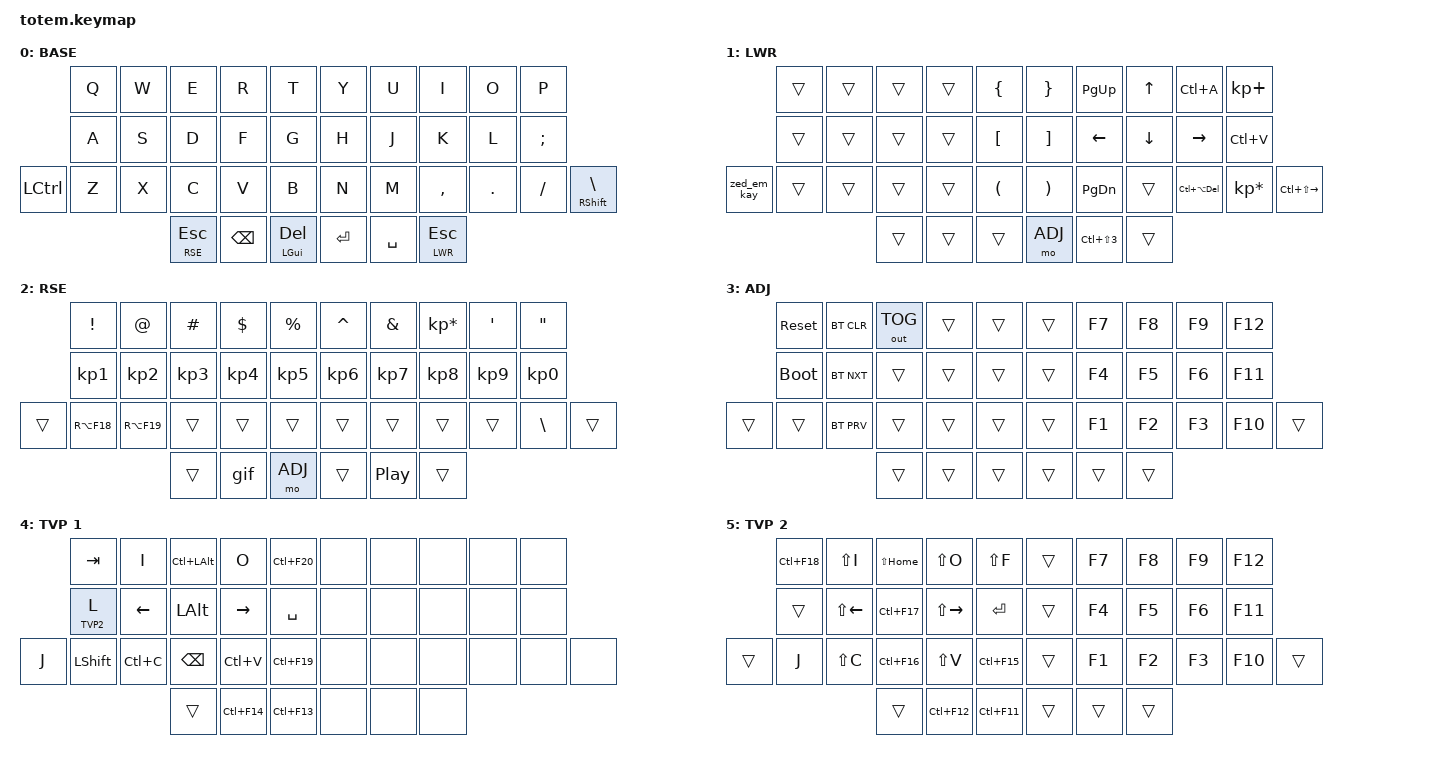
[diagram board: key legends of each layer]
// totem keymaps for zmk       

#include <behaviors.dtsi>
#include <dt-bindings/zmk/keys.h>
#include <dt-bindings/zmk/bt.h>
#include <dt-bindings/zmk/outputs.h>

#define BASE 0
#define LWR  1
#define RSE  2
#define ADJ  3
#define TVP1 4
#define TVP2 5

&mt {
  quick-tap-ms = <100>;
  global-quick-tap;
  flavor = "tap-preferred";
  tapping-term-ms = <170>;
};

/ {
    macros {
        zed_em_kay: zed_em_kay {
            label = "ZM_zed_em_kay";
            compatible = "zmk,behavior-macro";
            #binding-cells = <0>;
            bindings
                = <&macro_press &kp LSHFT>
                , <&macro_tap &kp Z &kp M &kp K &kp A>
                , <&macro_release &kp LSHFT>
                ;
        };
    };
};

/ {
     combos {
            compatible = "zmk,combos";
            combo_esc {
                timeout-ms = <40>; // 50 default
                key-positions = <0 1>;
                bindings = <&kp ESC>;
            };
            combo_tvp {
                timeout-ms = <100>;
                key-positions = <11 12 13>;
                bindings = <&tog TVP1>;
            };
    };

    macros {
        gif: gif {
            label = "giphy";
            compatible = "zmk,behavior-macro";
            #binding-cells = <0>;
            bindings
                = <&macro_press &kp LSHFT>
                , <&macro_tap &kp N2>
                , <&macro_release &kp LSHFT>
                , <&macro_tap &kp G &kp I &kp F>
                ;
        };
    };

        keymap {
                compatible = "zmk,keymap";
// ▄▄▄▄▄▄▄▄▄▄▄▄▄▄▄▄▄▄▄▄▄▄▄▄▄▄▄▄▄▄▄▄▄▄▄▄▄▄▄▄▄▄▄▄▄▄▄▄▄▄▄▄▄▄▄▄▄▄▄▄▄▄▄▄▄▄▄▄▄▄▄▄▄▄▄▄▄▄▄▄▄▄▄▄▄▄▄▄▄▄▄▄▄▄▄▄▄▄▄▄▄▄▄▄▄▄▄▄▄▄▄▄▄▄▄▄▄▄▄▄▄▄▄▄▄▄▄▄▄▄▄▄▄▄▄▄▄▄▄▄▄▄▄▄▄▄▄▄▄

                base_layer {
// ┏━━━━━━━━━━━━━━━━━━━━━━━━━━━━━━━━━━━━━━━┓
label= "BASE"                              ;
// ┗━━━━━━━━━━━━━━━━━━━━━━━━━━━━━━━━━━━━━━━┛
 bindings = <
// ╷           ╷           ╷           ╷           ╷           ╷           ╷   ╷           ╷           ╷           ╷           ╷           ╷           ╷

                &kp Q       &kp W       &kp E      &kp R       &kp T           &kp Y       &kp U       &kp I       &kp O       &kp P
                &kp A       &kp S       &kp D      &kp F       &kp G           &kp H       &kp J       &kp K       &kp L       &kp SEMI
    &kp LCTRL   &kp Z       &kp X       &kp C      &kp V       &kp B           &kp N       &kp M       &kp COMMA   &kp DOT     &kp FSLH    &mt RSHIFT BSLH
                                        &lt RSE ESC   &kp BSPC &mt LGUI DEL    &kp RET   &kp SPACE   &lt LWR ESC
                        >;
                };

                lwr_layer {
// ┏━━━━━━━━━━━━━━━━━━━━━━━━━━━━━━━━━━━━━━━┓
label= "LWR"                              ;
// ┗━━━━━━━━━━━━━━━━━━━━━━━━━━━━━━━━━━━━━━━┛
 bindings = <
// ╷           ╷           ╷           ╷           ╷           ╷           ╷   ╷           ╷           ╷           ╷           ╷           ╷           ╷
                &trans      &trans      &trans      &trans      &kp LBRC        &kp RBRC    &kp PG_UP   &kp UP      &kp LC(A)   &kp KP_PLUS
                &trans      &trans      &trans      &trans      &kp LBKT        &kp RBKT    &kp LEFT    &kp DOWN    &kp RIGHT   &kp LC(V)
  &zed_em_kay   &trans      &trans      &trans      &trans      &kp LPAR        &kp RPAR    &kp PG_DN   &trans      &kp LC(LA(DEL)) &kp KP_MULTIPLY &kp LC(LS(RIGHT))     
                                        &trans      &trans      &trans          &mo ADJ     &kp LC(LS(3)) &trans      
                        >;
                };
        
                rse_layer {
// ┏━━━━━━━━━━━━━━━━━━━━━━━━━━━━━━━━━━━━━━━┓
label= "RSE"                               ;
// ┗━━━━━━━━━━━━━━━━━━━━━━━━━━━━━━━━━━━━━━━┛
 bindings = <
// ╷           ╷           ╷           ╷           ╷           ╷           ╷   ╷           ╷           ╷           ╷           ╷           ╷           ╷
                &kp EXCL    &kp AT      &kp HASH    &kp DLLR    &kp PRCNT       &kp CARET   &kp AMPS    &kp KP_MULTIPLY &kp SQT &kp DQT       
                &kp KP_N1   &kp KP_N2   &kp KP_N3   &kp KP_N4   &kp KP_N5       &kp KP_N6   &kp KP_N7   &kp KP_N8   &kp KP_N9   &kp KP_N0 
    &trans      &kp RA(F18) &kp RA(F19) &trans      &trans      &trans          &trans      &trans      &trans      &trans      &kp BSLH   &trans         
                                        &trans      &gif        &mo ADJ         &trans      &kp C_PP    &trans
                        >;
                };

                adjust_layer {
// ┏━━━━━━━━━━━━━━━━━━━━━━━━━━━━━━━━━━━━━━━┓
label= "ADJ"                               ;
// ┗━━━━━━━━━━━━━━━━━━━━━━━━━━━━━━━━━━━━━━━┛
//             ┏━━━━━━━━━━━┳━━━━━━━━━━━┳━━━━━━━━━━━┳━━━━━━━━━━━┳━━━━━━━━━━━┓   ┏━━━━━━━━━━━┳━━━━━━━━━━━┳━━━━━━━━━━━┳━━━━━━━━━━━┳━━━━━━━━━━━┓
//             ┃   RESET   ┃ BT CLEAR  ┃  OUT TOG  ┃           ┃           ┃   ┃           ┃    F7     ┃    F8     ┃    F9     ┃    F12    ┃
//             ┣━━━━━━━━━━━╋━━━━━━━━━━━╋━━━━━━━━━━━╋━━━━━━━━━━━╋━━━━━━━━━━━┫   ┣━━━━━━━━━━━╋━━━━━━━━━━━╋━━━━━━━━━━━╋━━━━━━━━━━━╋━━━━━━━━━━━┫
//             ┃ BOOTLOAD  ┃ BT NEXT   ┃           ┃           ┃           ┃   ┃           ┃    F4     ┃    F5     ┃    F6     ┃    F11    ┃
// ┏━━━━━━━━━━━╋━━━━━━━━━━━╋━━━━━━━━━━━╋━━━━━━━━━━━╋━━━━━━━━━━━╋━━━━━━━━━━━┫   ┣━━━━━━━━━━━╋━━━━━━━━━━━╋━━━━━━━━━━━╋━━━━━━━━━━━╋━━━━━━━━━━━╋━━━━━━━━━━━┓
// ┃           ┃           ┃ BT PREV   ┃           ┃           ┃           ┃   ┃           ┃    F1     ┃    F2     ┃    F3     ┃    F10    ┃           ┃
// ┗━━━━━━━━━━━┻━━━━━━━━━━━┻━━━━━━━━━━━╋━━━━━━━━━━━╋━━━━━━━━━━━╋━━━━━━━━━━━┫   ┣━━━━━━━━━━━╋━━━━━━━━━━━╋━━━━━━━━━━━╋━━━━━━━━━━━┻━━━━━━━━━━━┻━━━━━━━━━━━┛
//                                     ┃           ┃           ┃           ┃   ┃           ┃           ┃           ┃
//                                     ┗━━━━━━━━━━━┻━━━━━━━━━━━┻━━━━━━━━━━━┛   ┗━━━━━━━━━━━┻━━━━━━━━━━━┻━━━━━━━━━━━┛
 bindings = <
// ╷           ╷           ╷           ╷           ╷           ╷           ╷   ╷           ╷           ╷           ╷           ╷           ╷           ╷

                &sys_reset  &bt BT_CLR &out OUT_TOG &trans      &trans          &trans      &kp F7      &kp F8      &kp F9      &kp F12
                &bootloader &bt BT_NXT  &trans      &trans      &trans          &trans      &kp F4      &kp F5      &kp F6      &kp F11  
    &trans      &trans      &bt BT_PRV  &trans      &trans      &trans          &trans      &kp F1      &kp F2      &kp F3      &kp F10     &trans         
                                        &trans      &trans      &trans          &trans      &trans      &trans      
                        >;
                };


                tvp1_layer {
// ┏━━━━━━━━━━━━━━━━━━━━━━━━━━━━━━━━━━━━━━━┓
label= "TVP 1"                             ;
// ┗━━━━━━━━━━━━━━━━━━━━━━━━━━━━━━━━━━━━━━━┛
//             ┏━━━━━━━━━━━┳━━━━━━━━━━━┳━━━━━━━━━━━┳━━━━━━━━━━━┳━━━━━━━━━━━┓   ┏━━━━━━━━━━━┳━━━━━━━━━━━┳━━━━━━━━━━━┳━━━━━━━━━━━┳━━━━━━━━━━━┓
//             ┃ NEXT FILE ┃ MARK IN   ┃ ROTATE    ┃ MARK OUT  ┃ SHOW SNAP ┃   ┃           ┃           ┃           ┃           ┃           ┃
//             ┣━━━━━━━━━━━╋━━━━━━━━━━━╋━━━━━━━━━━━╋━━━━━━━━━━━╋━━━━━━━━━━━┫   ┣━━━━━━━━━━━╋━━━━━━━━━━━╋━━━━━━━━━━━╋━━━━━━━━━━━╋━━━━━━━━━━━┫
//             ┃ TVP II    ┃ LEFT      ┃ PAN       ┃ RIGHT     ┃ PLAY/FLIP ┃   ┃           ┃           ┃           ┃           ┃           ┃
// ┏━━━━━━━━━━━╋━━━━━━━━━━━╋━━━━━━━━━━━╋━━━━━━━━━━━╋━━━━━━━━━━━╋━━━━━━━━━━━┫   ┣━━━━━━━━━━━╋━━━━━━━━━━━╋━━━━━━━━━━━╋━━━━━━━━━━━╋━━━━━━━━━━━╋━━━━━━━━━━━┓
// ┃ FULLSCR   ┃ SHIFT     ┃ COPY      ┃ DELETE    ┃ PASTE     ┃ IMG MARK  ┃   ┃           ┃           ┃           ┃           ┃           ┃           ┃
// ┗━━━━━━━━━━━┻━━━━━━━━━━━┻━━━━━━━━━━━╋━━━━━━━━━━━╋━━━━━━━━━━━╋━━━━━━━━━━━┫   ┣━━━━━━━━━━━╋━━━━━━━━━━━╋━━━━━━━━━━━╋━━━━━━━━━━━┻━━━━━━━━━━━┻━━━━━━━━━━━┛
//                                     ┃           ┃ UNDO/SAVE ┃  SEL/MOV  ┃   ┃           ┃           ┃           ┃
//                                     ┗━━━━━━━━━━━┻━━━━━━━━━━━┻━━━━━━━━━━━┛   ┗━━━━━━━━━━━┻━━━━━━━━━━━┻━━━━━━━━━━━┛
 bindings = <
// ╷           ╷           ╷           ╷           ╷           ╷           ╷   ╷           ╷           ╷           ╷           ╷           ╷           ╷

                &kp TAB     &kp I       &kp LC(LALT) &kp O      &kp LC(F20)     &none       &none       &none       &none       &none
                &lt TVP2 L  &kp LEFT    &kp LALT    &kp RIGHT   &kp SPACE       &none       &none       &none       &none       &none
    &kp J       &kp LSHFT   &kp LC(C)   &kp BSPC    &kp LC(V)   &kp LC(F19)     &none       &none       &none       &none       &none       &none        
                                        &trans      &kp LC(F14) &kp LC(F13)     &none       &none       &none    
                        >;
                };

// ▄▄▄▄▄▄▄▄▄▄▄▄▄▄▄▄▄▄▄▄▄▄▄▄▄▄▄▄▄▄▄▄▄▄▄▄▄▄▄▄▄▄▄▄▄▄▄▄▄▄▄▄▄▄▄▄▄▄▄▄▄▄▄▄▄▄▄▄▄▄▄▄▄▄▄▄▄▄▄▄▄▄▄▄▄▄▄▄▄▄▄▄▄▄▄▄▄▄▄▄▄▄▄▄▄▄▄▄▄▄▄▄▄▄▄▄▄▄▄▄▄▄▄▄▄▄▄▄▄▄▄▄▄▄▄▄▄▄▄▄▄▄▄▄▄▄▄▄▄


                tvp2_layer {
// ┏━━━━━━━━━━━━━━━━━━━━━━━━━━━━━━━━━━━━━━━┓
label= "TVP 2"                             ;
// ┗━━━━━━━━━━━━━━━━━━━━━━━━━━━━━━━━━━━━━━━┛
//             ┏━━━━━━━━━━━┳━━━━━━━━━━━┳━━━━━━━━━━━┳━━━━━━━━━━━┳━━━━━━━━━━━┓   ┏━━━━━━━━━━━┳━━━━━━━━━━━┳━━━━━━━━━━━┳━━━━━━━━━━━┳━━━━━━━━━━━┓
//             ┃ SOLO      ┃ TOGGLE IN ┃ RESET ROT ┃ TOGGLE OUT┃ TAKE SNAP ┃   ┃           ┃           ┃           ┃           ┃           ┃
//             ┣━━━━━━━━━━━╋━━━━━━━━━━━╋━━━━━━━━━━━╋━━━━━━━━━━━╋━━━━━━━━━━━┫   ┣━━━━━━━━━━━╋━━━━━━━━━━━╋━━━━━━━━━━━╋━━━━━━━━━━━╋━━━━━━━━━━━┫
//             ┃ ---       ┃ LAST KEY  ┃ NEW KEY   ┃ NEXT KEY  ┃ ENTER     ┃   ┃           ┃           ┃           ┃           ┃           ┃
// ┏━━━━━━━━━━━╋━━━━━━━━━━━╋━━━━━━━━━━━╋━━━━━━━━━━━╋━━━━━━━━━━━╋━━━━━━━━━━━┫   ┣━━━━━━━━━━━╋━━━━━━━━━━━╋━━━━━━━━━━━╋━━━━━━━━━━━╋━━━━━━━━━━━╋━━━━━━━━━━━┓
// ┃           ┃ FULLSCR   ┃ CPY2BRUSH ┃ DEL HEAD  ┃ PSTinPLACE┃ BOOK MARK ┃   ┃           ┃           ┃           ┃           ┃           ┃           ┃
// ┗━━━━━━━━━━━┻━━━━━━━━━━━┻━━━━━━━━━━━╋━━━━━━━━━━━╋━━━━━━━━━━━╋━━━━━━━━━━━┫   ┣━━━━━━━━━━━╋━━━━━━━━━━━╋━━━━━━━━━━━╋━━━━━━━━━━━┻━━━━━━━━━━━┻━━━━━━━━━━━┛
//                                     ┃           ┃ REDO/SAV1 ┃TRANS/WARP ┃   ┃           ┃           ┃           ┃
//                                     ┗━━━━━━━━━━━┻━━━━━━━━━━━┻━━━━━━━━━━━┛   ┗━━━━━━━━━━━┻━━━━━━━━━━━┻━━━━━━━━━━━┛
 bindings = <
// ╷           ╷           ╷           ╷           ╷           ╷           ╷   ╷           ╷           ╷           ╷           ╷           ╷           ╷

                &kp LC(F18) &kp LS(I)  &kp LS(HOME) &kp LS(O)   &kp LS(F)       &trans      &kp F7      &kp F8      &kp F9      &kp F12
                &trans      &kp LS(LEFT) &kp LC(F17) &kp LS(RIGHT) &kp RET      &trans      &kp F4      &kp F5      &kp F6      &kp F11  
    &trans      &kp J       &kp LS(C)   &kp LC(F16) &kp LS(V)   &kp LC(F15)     &trans      &kp F1      &kp F2      &kp F3      &kp F10     &trans         
                                        &trans      &kp LC(F12) &kp LC(F11)     &trans      &trans      &trans      
                        >;
                };
        };
};
